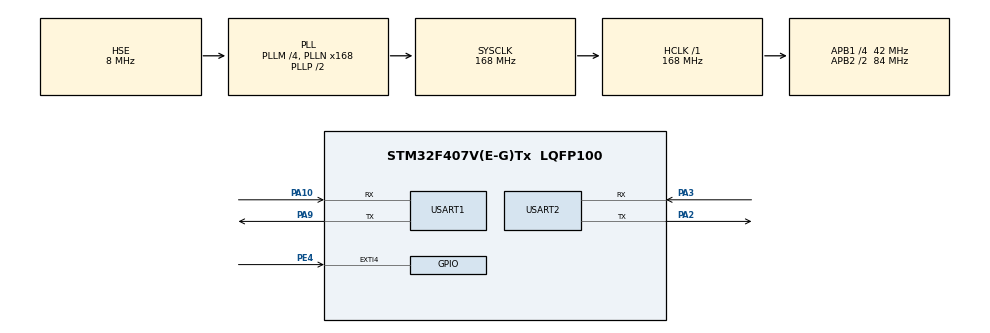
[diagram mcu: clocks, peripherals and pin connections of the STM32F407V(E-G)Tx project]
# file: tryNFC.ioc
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Mcu.Family=STM32F4
Mcu.Name=STM32F407V(E-G)Tx
Mcu.Package=LQFP100
NVIC.EXTI4_IRQn=true\:2\:0\:true\:false\:true\:true
NVIC.PriorityGroup=NVIC_PRIORITYGROUP_4
NVIC.RCC_IRQn=true\:0\:0\:false\:false\:true\:true
NVIC.USART1_IRQn=true\:1\:0\:true\:false\:true\:true
PA10.Mode=Asynchronous
PA10.Signal=USART1_RX
PA2.Mode=Asynchronous
PA2.Signal=USART2_TX
PA3.Mode=Asynchronous
PA3.Signal=USART2_RX
PA9.Mode=Asynchronous
PA9.Signal=USART1_TX
PE4.GPIO_ModeDefaultEXTI=GPIO_MODE_IT_FALLING
PE4.GPIO_PuPd=GPIO_PULLUP
PE4.Signal=GPXTI4
PH0-OSC_IN.Mode=HSE-External-Oscillator
PH0-OSC_IN.Signal=RCC_OSC_IN
PH1-OSC_OUT.Mode=HSE-External-Oscillator
PH1-OSC_OUT.Signal=RCC_OSC_OUT
ProjectManager.HeapSize=0x200
ProjectManager.StackSize=0x400
ProjectManager.TargetToolchain=MDK-ARM V5
RCC.48MHZClocksFreq_Value=84000000
RCC.AHBFreq_Value=168000000
RCC.APB1CLKDivider=RCC_HCLK_DIV4
RCC.APB1Freq_Value=42000000
RCC.APB1TimFreq_Value=84000000
RCC.APB2CLKDivider=RCC_HCLK_DIV2
RCC.APB2Freq_Value=84000000
RCC.APB2TimFreq_Value=168000000
RCC.CortexFreq_Value=168000000
RCC.EnbaleCSS=true
RCC.HCLKFreq_Value=168000000
RCC.HSE_VALUE=8000000
RCC.HSI_VALUE=16000000
RCC.LSE_VALUE=32768
RCC.PLLM=4
RCC.PLLN=168
RCC.PLLSourceVirtual=RCC_PLLSOURCE_HSE
RCC.SYSCLKFreq_VALUE=168000000
RCC.SYSCLKSource=RCC_SYSCLKSOURCE_PLLCLK
RCC.VCOOutputFreq_Value=336000000
USART1.VirtualMode=VM_ASYNC
USART2.VirtualMode=VM_ASYNC
board=custom

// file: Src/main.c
/**
  ******************************************************************************
  * @file           : main.c
  * @brief          : Main program body
  ******************************************************************************
  ** This notice applies to any and all portions of this file
  * that are not between comment pairs USER CODE BEGIN and
  * USER CODE END. Other portions of this file, whether
  * inserted by the user or by software development tools
  * are owned by their respective copyright owners.
  *
  * COPYRIGHT(c) 2019 STMicroelectronics
  *
  * Redistribution and use in source and binary forms, with or without modification,
  * are permitted provided that the following conditions are met:
  *   1. Redistributions of source code must retain the above copyright notice,
  *      this list of conditions and the following disclaimer.
  *   2. Redistributions in binary form must reproduce the above copyright notice,
  *      this list of conditions and the following disclaimer in the documentation
  *      and/or other materials provided with the distribution.
  *   3. Neither the name of STMicroelectronics nor the names of its contributors
  *      may be used to endorse or promote products derived from this software
  *      without specific prior written permission.
  *
  * THIS SOFTWARE IS PROVIDED BY THE COPYRIGHT HOLDERS AND CONTRIBUTORS "AS IS"
  * AND ANY EXPRESS OR IMPLIED WARRANTIES, INCLUDING, BUT NOT LIMITED TO, THE
  * IMPLIED WARRANTIES OF MERCHANTABILITY AND FITNESS FOR A PARTICULAR PURPOSE ARE
  * DISCLAIMED. IN NO EVENT SHALL THE COPYRIGHT HOLDER OR CONTRIBUTORS BE LIABLE
  * FOR ANY DIRECT, INDIRECT, INCIDENTAL, SPECIAL, EXEMPLARY, OR CONSEQUENTIAL
  * DAMAGES (INCLUDING, BUT NOT LIMITED TO, PROCUREMENT OF SUBSTITUTE GOODS OR
  * SERVICES; LOSS OF USE, DATA, OR PROFITS; OR BUSINESS INTERRUPTION) HOWEVER
  * CAUSED AND ON ANY THEORY OF LIABILITY, WHETHER IN CONTRACT, STRICT LIABILITY,
  * OR TORT (INCLUDING NEGLIGENCE OR OTHERWISE) ARISING IN ANY WAY OUT OF THE USE
  * OF THIS SOFTWARE, EVEN IF ADVISED OF THE POSSIBILITY OF SUCH DAMAGE.
  *
  ******************************************************************************
  */
#include "main.h"
#include "stm32f4xx_hal.h"

/* USER CODE BEGIN Includes */
#include "stdio.h"
#include "nfc.h"
/* USER CODE END Includes */

UART_HandleTypeDef huart1;
UART_HandleTypeDef huart2;

/* USER CODE BEGIN PV */
/* Private variables ---------------------------------------------------------*/
uint8_t aRxBuffer;
uint8_t UID_len;
uint8_t UID[7];

__IO  uint16_t uart_p = 0;
uint8_t data_buff[UART_BUFF_SIZE];
/* USER CODE END PV */

void SystemClock_Config(void);
static void MX_GPIO_Init(void);
static void MX_USART1_UART_Init(void);
static void MX_USART2_UART_Init(void);

/* USER CODE BEGIN PFP */
/* Private function prototypes -----------------------------------------------*/
uint8_t *get_rebuff(uint16_t *len);
void clean_rebuff(void);

/*
bool nfc_mifareultralight_AuthenticateBlock(void);
bool isUnformated(void);
*/

/*
void nfc_read(void);
void nfc_write(uint8_t write_data);
void nfc_PsdVerifyKeyA(void);
*/
/* USER CODE END PFP */

int main(void)
{

  /* MCU Configuration----------------------------------------------------------*/

  /* Reset of all peripherals, Initializes the Flash interface and the Systick. */
  HAL_Init();

  /* Configure the system clock */
  SystemClock_Config();

  /* Initialize all configured peripherals */
  MX_GPIO_Init();
  MX_USART1_UART_Init();
  MX_USART2_UART_Init();
  /* USER CODE BEGIN 2 */
	HAL_UART_Receive_IT(&huart1,&aRxBuffer,1);
	printf("program strat!!!\n");
	nfc_WakeUp();
	nfc_SAMConfig();
  /* USER CODE END 2 */

  /* Infinite loop */
  while (1)
  {

  /* USER CODE BEGIN 3 */
		HAL_NVIC_DisableIRQ(EXTI4_IRQn);
		if(nfc_InListPassiveTarget(PN532_MIFARE_ISO14443A, UID, &UID_len))
		{
			if(UID_len == 4)
				nfc_mifareclassic_Read();

			if(UID_len == 7)
				//nfc_mifareultralight_AuthenticateBlock();
				printf("ok");
			HAL_NVIC_EnableIRQ(EXTI4_IRQn);
			HAL_Delay(500);
		}

    //nfc_PsdVerifyKeyA();
  }
  /* USER CODE END 3 */

}

void SystemClock_Config(void)
{

  RCC_OscInitTypeDef RCC_OscInitStruct;
  RCC_ClkInitTypeDef RCC_ClkInitStruct;

    /**Configure the main internal regulator output voltage
    */
  __HAL_RCC_PWR_CLK_ENABLE();

  __HAL_PWR_VOLTAGESCALING_CONFIG(PWR_REGULATOR_VOLTAGE_SCALE1);

    /**Initializes the CPU, AHB and APB busses clocks
    */
  RCC_OscInitStruct.OscillatorType = RCC_OSCILLATORTYPE_HSE;
  RCC_OscInitStruct.HSEState = RCC_HSE_ON;
  RCC_OscInitStruct.PLL.PLLState = RCC_PLL_ON;
  RCC_OscInitStruct.PLL.PLLSource = RCC_PLLSOURCE_HSE;
  RCC_OscInitStruct.PLL.PLLM = 4;
  RCC_OscInitStruct.PLL.PLLN = 168;
  RCC_OscInitStruct.PLL.PLLP = RCC_PLLP_DIV2;
  RCC_OscInitStruct.PLL.PLLQ = 4;
  if (HAL_RCC_OscConfig(&RCC_OscInitStruct) != HAL_OK)
  {
    _Error_Handler(__FILE__, __LINE__);
  }

    /**Initializes the CPU, AHB and APB busses clocks
    */
  RCC_ClkInitStruct.ClockType = RCC_CLOCKTYPE_HCLK|RCC_CLOCKTYPE_SYSCLK
                              |RCC_CLOCKTYPE_PCLK1|RCC_CLOCKTYPE_PCLK2;
  RCC_ClkInitStruct.SYSCLKSource = RCC_SYSCLKSOURCE_PLLCLK;
  RCC_ClkInitStruct.AHBCLKDivider = RCC_SYSCLK_DIV1;
  RCC_ClkInitStruct.APB1CLKDivider = RCC_HCLK_DIV4;
  RCC_ClkInitStruct.APB2CLKDivider = RCC_HCLK_DIV2;

  if (HAL_RCC_ClockConfig(&RCC_ClkInitStruct, FLASH_LATENCY_5) != HAL_OK)
  {
    _Error_Handler(__FILE__, __LINE__);
  }

    /**Enables the Clock Security System
    */
  HAL_RCC_EnableCSS();

    /**Configure the Systick interrupt time
    */
  HAL_SYSTICK_Config(HAL_RCC_GetHCLKFreq()/1000);

    /**Configure the Systick
    */
  HAL_SYSTICK_CLKSourceConfig(SYSTICK_CLKSOURCE_HCLK);

  /* SysTick_IRQn interrupt configuration */
  HAL_NVIC_SetPriority(SysTick_IRQn, 0, 0);
}

/* USART1 init function */
static void MX_USART1_UART_Init(void)
{

  huart1.Instance = USART1;
  huart1.Init.BaudRate = 115200;
  huart1.Init.WordLength = UART_WORDLENGTH_8B;
  huart1.Init.StopBits = UART_STOPBITS_1;
  huart1.Init.Parity = UART_PARITY_NONE;
  huart1.Init.Mode = UART_MODE_TX_RX;
  huart1.Init.HwFlowCtl = UART_HWCONTROL_NONE;
  huart1.Init.OverSampling = UART_OVERSAMPLING_16;
  if (HAL_UART_Init(&huart1) != HAL_OK)
  {
    _Error_Handler(__FILE__, __LINE__);
  }

}

/* USART2 init function */
static void MX_USART2_UART_Init(void)
{

  huart2.Instance = USART2;
  huart2.Init.BaudRate = 115200;
  huart2.Init.WordLength = UART_WORDLENGTH_8B;
  huart2.Init.StopBits = UART_STOPBITS_1;
  huart2.Init.Parity = UART_PARITY_NONE;
  huart2.Init.Mode = UART_MODE_TX_RX;
  huart2.Init.HwFlowCtl = UART_HWCONTROL_NONE;
  huart2.Init.OverSampling = UART_OVERSAMPLING_16;
  if (HAL_UART_Init(&huart2) != HAL_OK)
  {
    _Error_Handler(__FILE__, __LINE__);
  }

}

/** Configure pins as
        * Analog
        * Input
        * Output
        * EVENT_OUT
        * EXTI
*/
static void MX_GPIO_Init(void)
{

  GPIO_InitTypeDef GPIO_InitStruct;

  /* GPIO Ports Clock Enable */
  __HAL_RCC_GPIOE_CLK_ENABLE();
  __HAL_RCC_GPIOH_CLK_ENABLE();
  __HAL_RCC_GPIOA_CLK_ENABLE();

  /*Configure GPIO pin : PE4 */
  GPIO_InitStruct.Pin = GPIO_PIN_4;
  GPIO_InitStruct.Mode = GPIO_MODE_IT_FALLING;
  GPIO_InitStruct.Pull = GPIO_PULLUP;
  HAL_GPIO_Init(GPIOE, &GPIO_InitStruct);

  /* EXTI interrupt init*/
  HAL_NVIC_SetPriority(EXTI4_IRQn, 2, 0);
  HAL_NVIC_EnableIRQ(EXTI4_IRQn);

}

/* USER CODE BEGIN 4 */

/*
bool nfc_mifareultralight_AuthenticateBlock(void)
{
	if(isUnformated())
	{
		printf("Tag Is Unformatted!!!\n");
		return false;
	}
	clean_rebuff();

	return false;
}

bool isUnformated(void)
{
	uint8_t data[12];
  uint8_t temp=0;
	uint16_t len;

	data[0]=0x00;
  data[1]=0x00;
  data[2]=0xFF;

  data[3]=0x05; //length
	data[4]=0x100-data[3];//LCS
	data[5]=0xD4;
	data[6]=0x40;
	data[7]=0x01;//Tg
	data[8]=0x30;//DataOut
	data[9]=0x04;//Page

	for(int i=5;i<10;i++)
		temp+=data[i];
	data[10]=0x100-temp;//DCS
	data[11]=0x00;

	HAL_UART_Transmit(&huart1,&list_passive_device_cmd[0],12,0xffff);//?USART2??? length?????data
	while(__HAL_UART_GET_FLAG(&huart1,UART_FLAG_TXE)==0); //????,??????

  HAL_Delay(150);
  get_rebuff(&len);

	if(len > 0)
	{
		if(correct_AckFrame())
		{
			if(correct_CheckSum(len))
			{
				if(data_buff[12] == 0)
				{

					clean_rebuff();
					return false;
				}
				return (data_buff[13] != 0xFF && data_buff[14] != 0xFF && data_buff[15] != 0xFF && data_buff[16] != 0xFF);
			}
		}
	}
	clean_rebuff();
	return true;
}

void readCapabilityContainer(void)
{
	uint8_t data[12];
  uint8_t temp=0;
  uint8_t CheckCode=0;
	uint16_t len;

	data[0]=0x00;
  data[1]=0x00;
  data[2]=0xFF;

  data[3]=0x05; //length
	data[4]=0x100-data[3];//LCS
	data[5]=0xD4;
	data[6]=0x40;
	data[7]=0x01;//Tg
	data[8]=0x30;//DataOut
	data[9]=0x03;//Page

	for(int i=5;i<10;i++)
		temp+=data[i];
	data[10]=0x100-temp;//DCS
	data[11]=0x00;

	HAL_UART_Transmit(&huart1,&list_passive_device_cmd[0],12,0xffff);//?USART2??? length?????data
	while(__HAL_UART_GET_FLAG(&huart1,UART_FLAG_TXE)==0); //????,??????

  HAL_Delay(150);
  get_rebuff(&len);

	if(len > 0)
	{
		if(correct_AckFrame())
		{
			if(correct_CheckSum(len))
			{

			}
		}
	}
}
*/
/*
void  nfc_PsdVerifyKeyA(void)
{

	uint8_t i,data[22];
  uint8_t temp=0;
  uint8_t CheckCode=0; //?????
	uint16_t len;
  data[0]=0x00;
  data[1]=0x00;
  data[2]=0xFF;

  data[3]=0x0F; //? ??
  data[4]=0x100-data[3]; //? ?? ??  0x100-data[3]

  data[5]=0xD4; //?????
  data[6]=0x40; //?????

  data[7]=0x01;
  data[8]=0x60;
  data[9]=0x03;

  data[10]=0xFF; //KEY A ?? FF FF FF FF FF FF
  data[11]=0xFF;
  data[12]=0xFF;
  data[13]=0xFF;
  data[14]=0xFF;
  data[15]=0xFF;

  data[16]=UID[0];
  data[17]=UID[1];
  data[18]=UID[2];
  data[19]=UID[3];

  for(i=5;i<20;i++)
  {
      temp+=data[i];
  }

  data[20]=0x100-temp;   //?? ??   0x100-
  data[21]=0x00;

  HAL_UART_Transmit(&huart1,&data[0],25,0xffff);//?USART2??? length?????data
  while(__HAL_UART_GET_FLAG(&huart1,UART_FLAG_TXE)==0); //????,??????

  HAL_Delay(180);
  temp=0;

  get_rebuff(&len);
  //00 00 FF 04 FC D4 4A 01 00 E1 00
	printf("len: %d",len);
  for(i=11;i<14;i++)
  {
      temp+=data_buff[i];
  }
  CheckCode=0x100-temp;

  if(CheckCode==data_buff[14])
  {
     clean_rebuff();

     if(flag_nfc_status==0)
     {
       nfc_read();
       flag_nfc_status=0;
     }
     if(flag_nfc_status==2)
     {
        nfc_write(0x55);//?????0x55
        flag_nfc_status=0;
     }
     if(flag_nfc_status==3)
     {
        nfc_write(0xAA);//?????0xAA
        flag_nfc_status=0;
     }
  }
}

void nfc_read(void)
{
  uint8_t i,data[12];
  uint8_t temp=0;
  uint8_t CheckCode=0; //?????
  uint16_t len;
  data[0]=0x00;
  data[1]=0x00;
  data[2]=0xFF;

  data[3]=0x05; //? ??
  data[4]=0xFB; //? ?? ??  0x100-data[3]

  data[5]=0xD4; //?????
  data[6]=0x40; //?????

  data[7]=0x01;
  data[8]=0x30;
  data[9]=0x02; //?????16????

  temp=0;
  for(i=5;i<10;i++)
  {
      temp+=data[i];
  }
  data[10]=0x100-temp;
  data[11]=0x00;
  HAL_UART_Transmit(&huart1,&data[0],12,0xffff);//?USART2??? length?????data
  while(__HAL_UART_GET_FLAG(&huart1,UART_FLAG_TXE)==0); //????,??????

  HAL_Delay(180);
  temp=0;
  get_rebuff(&len);

  for(i=11;i<30;i++)
  {
    temp+=data_buff[i];
  }
  CheckCode=0x100-temp;
  if(CheckCode==data_buff[30])
  {
    printf("?????:%x\n",data_buff[14]);
    if((UID_backup[0]!=UID[0])|(UID_backup[1]!=UID[1])|(UID_backup[2]!=UID[2])|(UID_backup[3]!=UID[3]))
    {
      HAL_Delay(100);
    }
    UID_backup[0]=UID[0];
    UID_backup[1]=UID[1];
    UID_backup[2]=UID[2];
    UID_backup[3]=UID[3];
    clean_rebuff();
  }
}

void nfc_write(uint8_t write_data)
{
  uint8_t i,data[28];
  uint8_t temp=0;
  uint8_t CheckCode=0; //?????
  uint16_t len;
  data[0]=0x00;
  data[1]=0x00;
  data[2]=0xFF;

  data[3]=0x15; //? ??
  data[4]=0xEB; //? ?? ??  0x100-data[3]

  data[5]=0xD4; //?????
  data[6]=0x40; //?????

  data[7]=0x01; //????6?? ??1????
  data[8]=0xA0; //?
  data[9]=0x02; //?????16????

  data[10]=write_data; //? 1 ?? ??
  data[11]=0x00;
  data[12]=0x00; //? 3 ?? ??
  data[13]=0x00;
  data[14]=0x00; //? 5 ?? ??
  data[15]=0x00;
  data[16]=0x00; //? 7 ?? ??
  data[17]=0x00;
  data[18]=0x00; //? 9 ?? ??
  data[19]=0x00;
  data[20]=0x00; //? 11 ?? ??
  data[21]=0x00;
  data[22]=0x00; //? 13 ?? ??
  data[23]=0x00;
  data[24]=0x00; //? 15 ?? ??
  data[25]=0x00;

  temp=0;
  for(i=5;i<26;i++)
  {
      temp+=data[i];
  }
  data[26]=0x100-temp;
  data[27]=0x00;

  HAL_UART_Transmit(&huart1,&data[0],28,0xffff);//?USART2??? length?????data
  while(__HAL_UART_GET_FLAG(&huart1,UART_FLAG_TXE)==0); //????,??????

  HAL_Delay(180);
  temp=0;
  get_rebuff(&len);

  for(i=11;i<14;i++)
  {
    temp+=data_buff[i];
  }
  CheckCode=0x100-temp;
  if(CheckCode==data_buff[14])
  {

    if((UID_backup[0]!=UID[0])|(UID_backup[1]!=UID[1])|(UID_backup[2]!=UID[2])|(UID_backup[3]!=UID[3]))
    {
      HAL_Delay(100);
    }
    UID_backup[0]=UID[0];
    UID_backup[1]=UID[1];
    UID_backup[2]=UID[2];
    UID_backup[3]=UID[3];
    clean_rebuff();
  }
}
*/
void HAL_UART_RxCpltCallback(UART_HandleTypeDef *UartHandle)
{
  if(uart_p<UART_BUFF_SIZE)
  {
    data_buff[uart_p++] =aRxBuffer;
    HAL_UART_Receive_IT(&huart1,&aRxBuffer,1);
  }
}

uint8_t *get_rebuff(uint16_t *len)
{
    *len = uart_p;
    return (uint8_t *)&data_buff;
}

void clean_rebuff(void)
{
  uint16_t i=UART_BUFF_SIZE+1;

  uart_p = 0;
	while(i)
		data_buff[--i]=0;
}

int fputc(int ch,FILE *f)
{
    uint8_t temp[1]={ch};
    HAL_UART_Transmit(&huart2,temp,1,2);
		return ch;
}

/* USER CODE END 4 */

void _Error_Handler(char *file, int line)
{
  while(1)
  {
  }
}

/************************ (C) COPYRIGHT STMicroelectronics *****END OF FILE****/
